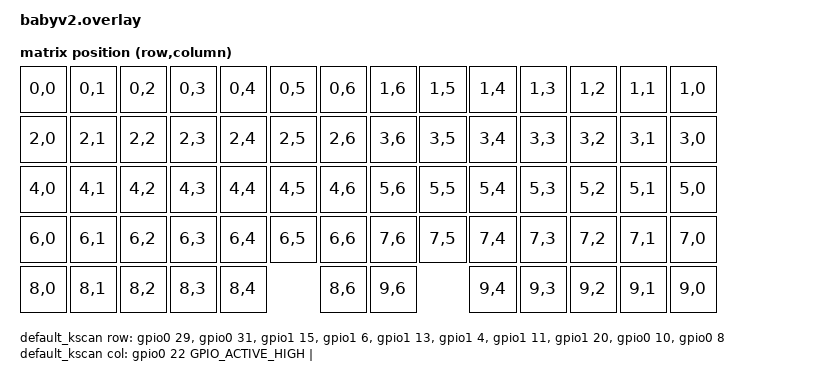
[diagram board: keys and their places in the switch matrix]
#include <dt-bindings/zmk/matrix_transform.h>

/ {
    chosen {
        zmk,kscan = &default_kscan;
        zmk,matrix-transform = &default_transform; // ONLY keep the matrix transform
    };

    default_kscan: kscan {
        compatible = "zmk,kscan-gpio-matrix";
        diode-direction = "row2col";

        row-gpios = <&gpio0 29 (GPIO_ACTIVE_HIGH)>,
                    <&gpio0 31 (GPIO_ACTIVE_HIGH)>,
                    <&gpio1 15 (GPIO_ACTIVE_HIGH)>,
                    <&gpio1  6 (GPIO_ACTIVE_HIGH)>,
                    <&gpio1 13 (GPIO_ACTIVE_HIGH)>,
                    <&gpio1  4 (GPIO_ACTIVE_HIGH)>,
                    <&gpio1 11 (GPIO_ACTIVE_HIGH)>,
                    <&gpio1 20 (GPIO_ACTIVE_HIGH)>,
                    <&gpio0 10 (GPIO_ACTIVE_HIGH)>,
                    <&gpio0  8 (GPIO_ACTIVE_HIGH)>;

        col-gpios = <&gpio0 22 GPIO_ACTIVE_HIGH | GPIO_PULL_DOWN)>,
                    <&gpio0 24 GPIO_ACTIVE_HIGH | GPIO_PULL_DOWN)>,
                    <&gpio1  0 GPIO_ACTIVE_HIGH | GPIO_PULL_DOWN)>,
                    <&gpio0 11 GPIO_ACTIVE_HIGH | GPIO_PULL_DOWN)>,
                    <&gpio0 17 GPIO_ACTIVE_HIGH | GPIO_PULL_DOWN)>,
                    <&gpio1  2 GPIO_ACTIVE_HIGH | GPIO_PULL_DOWN)>,
                    <&gpio0  2 GPIO_ACTIVE_HIGH | GPIO_PULL_DOWN)>;
    };

    default_transform: matrix_transform {
        compatible = "zmk,matrix-transform";
        rows = <10>;
        columns = <7>;
        map = <
            RC(0,0) RC(0,1) RC(0,2) RC(0,3) RC(0,4) RC(0,5) RC(0,6) RC(1,6) RC(1,5) RC(1,4) RC(1,3) RC(1,2) RC(1,1) RC(1,0)
            RC(2,0) RC(2,1) RC(2,2) RC(2,3) RC(2,4) RC(2,5) RC(2,6) RC(3,6) RC(3,5) RC(3,4) RC(3,3) RC(3,2) RC(3,1) RC(3,0)
            RC(4,0) RC(4,1) RC(4,2) RC(4,3) RC(4,4) RC(4,5) RC(4,6) RC(5,6) RC(5,5) RC(5,4) RC(5,3) RC(5,2) RC(5,1) RC(5,0)
            RC(6,0) RC(6,1) RC(6,2) RC(6,3) RC(6,4) RC(6,5) RC(6,6) RC(7,6) RC(7,5) RC(7,4) RC(7,3) RC(7,2) RC(7,1) RC(7,0)
            RC(8,0) RC(8,1) RC(8,2) RC(8,3) RC(8,4)         RC(8,6) RC(9,6)         RC(9,4) RC(9,3) RC(9,2) RC(9,1) RC(9,0)
        >;
    };
};
